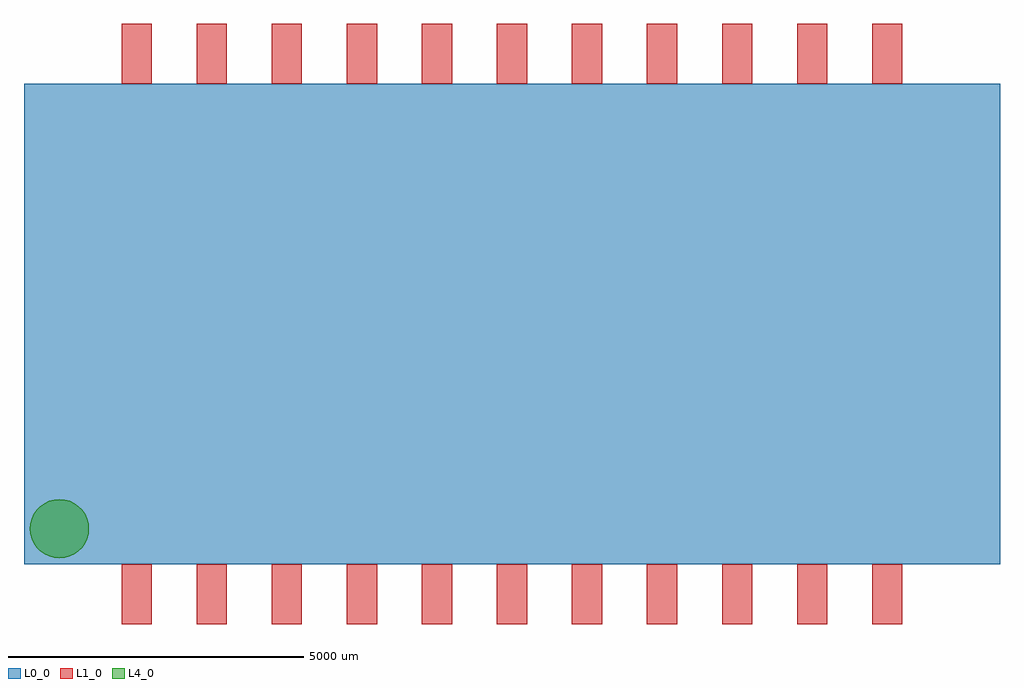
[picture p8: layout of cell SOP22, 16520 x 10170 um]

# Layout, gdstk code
import gdstk
lib = gdstk.Library(unit=1e-6, precision=1e-09)
def R(c, l, rs):  # rectangles x0, y0, x1, y1
    for r in rs: c.add(gdstk.rectangle(r[:2], r[2:], *l))
def A(c, l, x, y, w, h, nx, ny, dx, dy):  # array of equal rectangles
    R(c, l, [(x+i*dx, y+j*dy, x+i*dx+w, y+j*dy+h) for i in range(nx) for j in range(ny)])
def P(c, l, *ps):  # polygons
    for p in ps: c.add(gdstk.Polygon(p, *l))
L0_0 = (0, 0)
L1_0 = (1, 0)
L4_0 = (4, 0)
L99_1 = (99, 1)
L99_2 = (99, 2)
L99_3 = (99, 3)
L99_4 = (99, 4)
L99_5 = (99, 5)
L99_6 = (99, 6)
L99_7 = (99, 7)
L99_8 = (99, 8)
L99_9 = (99, 9)
L99_10 = (99, 10)
L99_11 = (99, 11)
L99_12 = (99, 12)
L99_13 = (99, 13)
L99_14 = (99, 14)
L99_15 = (99, 15)
L99_16 = (99, 16)
L99_17 = (99, 17)
L99_18 = (99, 18)
L99_19 = (99, 19)
L99_20 = (99, 20)
L99_21 = (99, 21)
L99_22 = (99, 22)

sop22 = lib.new_cell('SOP22')
R(sop22, L0_0, [(0,0,16520,8130)])
A(sop22, L1_0, 1655, -1020, 510, 1020, 11, 2, 1270, 9150)
P(sop22, L4_0, [(1100,600),(1092.404,513.176),(1069.846,428.99),(1033.013,350),(983.022,278.606),(921.394,216.978),(850,166.987),(771.01,130.154),(686.824,107.596),(600,100),(513.176,107.596),(428.99,130.154),(350,166.987),(278.606,216.978),(216.978,278.606),(166.987,350),(130.154,428.99),(107.596,513.176),(100,600),(107.596,686.824),(130.154,771.01),(166.987,850),(216.978,921.394),(278.606,983.022),(350,1033.013),(428.99,1069.846),(513.176,1092.404),(600,1100),(686.824,1092.404),(771.01,1069.846),(850,1033.013),(921.394,983.022),(983.022,921.394),(1033.013,850),(1069.846,771.01),(1092.404,686.824)])
sop22.add(gdstk.FlexPath([(2165,0),(1655,0)], 0, ends="round", simple_path=True, layer=99, datatype=1))  # L99_1
sop22.add(gdstk.FlexPath([(3435,0),(2925,0)], 0, ends="round", simple_path=True, layer=99, datatype=2))  # L99_2
sop22.add(gdstk.FlexPath([(4705,0),(4195,0)], 0, ends="round", simple_path=True, layer=99, datatype=3))  # L99_3
sop22.add(gdstk.FlexPath([(5975,0),(5465,0)], 0, ends="round", simple_path=True, layer=99, datatype=4))  # L99_4
sop22.add(gdstk.FlexPath([(7245,0),(6735,0)], 0, ends="round", simple_path=True, layer=99, datatype=5))  # L99_5
sop22.add(gdstk.FlexPath([(8515,0),(8005,0)], 0, ends="round", simple_path=True, layer=99, datatype=6))  # L99_6
sop22.add(gdstk.FlexPath([(9785,0),(9275,0)], 0, ends="round", simple_path=True, layer=99, datatype=7))  # L99_7
sop22.add(gdstk.FlexPath([(11055,0),(10545,0)], 0, ends="round", simple_path=True, layer=99, datatype=8))  # L99_8
sop22.add(gdstk.FlexPath([(12325,0),(11815,0)], 0, ends="round", simple_path=True, layer=99, datatype=9))  # L99_9
sop22.add(gdstk.FlexPath([(13595,0),(13085,0)], 0, ends="round", simple_path=True, layer=99, datatype=10))  # L99_10
sop22.add(gdstk.FlexPath([(14865,0),(14355,0)], 0, ends="round", simple_path=True, layer=99, datatype=11))  # L99_11
sop22.add(gdstk.FlexPath([(1655,8130),(2165,8130)], 0, ends="round", simple_path=True, layer=99, datatype=22))  # L99_22
sop22.add(gdstk.FlexPath([(2925,8130),(3435,8130)], 0, ends="round", simple_path=True, layer=99, datatype=21))  # L99_21
sop22.add(gdstk.FlexPath([(4195,8130),(4705,8130)], 0, ends="round", simple_path=True, layer=99, datatype=20))  # L99_20
sop22.add(gdstk.FlexPath([(5465,8130),(5975,8130)], 0, ends="round", simple_path=True, layer=99, datatype=19))  # L99_19
sop22.add(gdstk.FlexPath([(6735,8130),(7245,8130)], 0, ends="round", simple_path=True, layer=99, datatype=18))  # L99_18
sop22.add(gdstk.FlexPath([(8005,8130),(8515,8130)], 0, ends="round", simple_path=True, layer=99, datatype=17))  # L99_17
sop22.add(gdstk.FlexPath([(9275,8130),(9785,8130)], 0, ends="round", simple_path=True, layer=99, datatype=16))  # L99_16
sop22.add(gdstk.FlexPath([(10545,8130),(11055,8130)], 0, ends="round", simple_path=True, layer=99, datatype=15))  # L99_15
sop22.add(gdstk.FlexPath([(11815,8130),(12325,8130)], 0, ends="round", simple_path=True, layer=99, datatype=14))  # L99_14
sop22.add(gdstk.FlexPath([(13085,8130),(13595,8130)], 0, ends="round", simple_path=True, layer=99, datatype=13))  # L99_13
sop22.add(gdstk.FlexPath([(14355,8130),(14865,8130)], 0, ends="round", simple_path=True, layer=99, datatype=12))  # L99_12

lib.write_gds('SOP22.gds')
